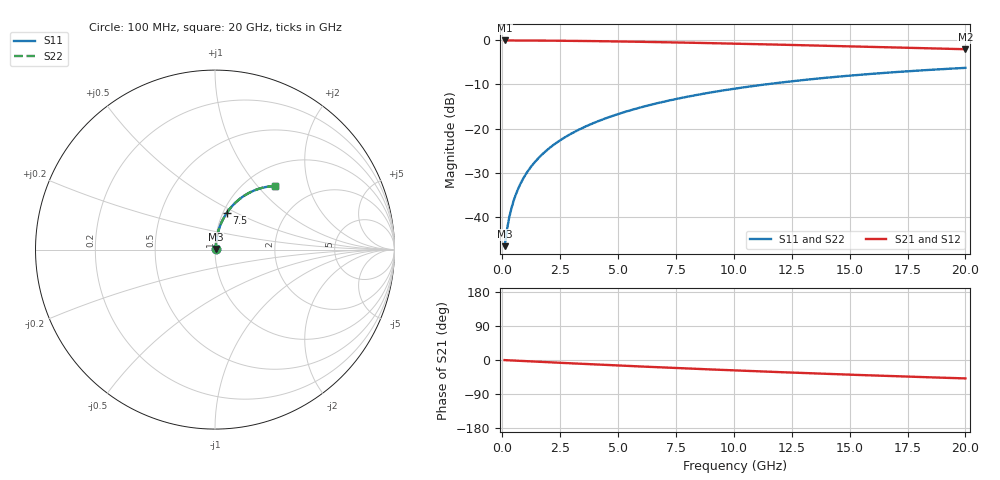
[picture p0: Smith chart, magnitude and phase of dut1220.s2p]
! Touchstone file exported from HFSS 2024.1.0
!  File:  C:/UserFiles/LocalFiles/RDL_TSV_Batchsim/temp_RDL_top_1220_1780240220.aedt
!  Generated:  11:12:35 PM May 31, 2026
!  Design:  RDL_top
!  Project:  temp_RDL_top_1220_1780240220
!  Setup:  Setup1
!  Solution:  Sweep
! Variables:
!  dtsv = 10.80580581um
!  hbump = 3um
!  htsv = 97.35um
!  ldown = 100um
!  lrdl = 649.65um
!  p = 40
!  p1 = 55.36um
!  rhole = 1um
!  t = 450um
!  tdown = 3.915915916um
!  trdl = 4.33um
!  wdown = 15.38538539um
!  wrdl = 15.6um
# GHz S MA R 50.000000
! Terminal data exported
! Port[1] = Box2_T1
! Port[2] = Box2_T2
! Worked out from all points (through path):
!   200 points, 100 MHz to 20 GHz, reference 50 ohm
!   highest |S21| = -0.03 dB at 100 MHz (marker M1); lowest = -2.0 dB at 20 GHz (marker M2)
!   group delay of S21, straight-line fit = 6.73 ps
!   lowest |S11| = -46.6 dB at 100 MHz (marker M3), VSWR 1.01, Z = 50.4 + j0.311 ohm
!   |S11| at or under -10 dB: start of sweep to 11.34 GHz
!   |S22| runs from -46.6 to -6.2 dB; largest |S21 - S12| = 2.5e-15
!   S11 on the Smith chart (normalised r, x): 100 MHz: 1.01, +0.01; 7.5 GHz: 1.04, +0.45; 20 GHz: 1.34, +1.25
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0.1  0.00467 41.5  0.9965 -0.3  0.9965 -0.3  0.00467 41.5
! Gamma 0 0 0 0
! Port Impedance 50 0 50 0
0.2  0.007129 59.4  0.9964 -0.6  0.9964 -0.6  0.007129 59.4
0.3  0.009882 67.4  0.9962 -0.9  0.9962 -0.9  0.009882 67.4
0.4  0.01271 71.8  0.996 -1.2  0.996 -1.2  0.01271 71.8
0.5  0.01556 74.6  0.9959 -1.5  0.9959 -1.5  0.01556 74.6
0.6  0.01843 76.4  0.9957 -1.8  0.9957 -1.8  0.01843 76.4
0.8  0.0242 78.8  0.9953 -2.4  0.9953 -2.4  0.0242 78.8
1.1  0.03292 80.5  0.9946 -3.3  0.9946 -3.3  0.03292 80.5
1.5  0.0446 81.4  0.9935 -4.5  0.9935 -4.5  0.0446 81.4
1.8  0.05337 81.6  0.9924 -5.3  0.9924 -5.3  0.05337 81.6
2.1  0.06215 81.5  0.9911 -6.2  0.9911 -6.2  0.06215 81.5
2.7  0.07968 81.0  0.9881 -8.0  0.9881 -8.0  0.07968 81.0
3.5  0.103 79.9  0.9831 -10.2  0.9831 -10.2  0.103 79.9
4.2  0.1232 78.7  0.9779 -12.2  0.9779 -12.2  0.1232 78.7
5  0.1462 77.2  0.9712 -14.4  0.9712 -14.4  0.1462 77.2
5.9  0.1718 75.4  0.9629 -16.9  0.9629 -16.9  0.1718 75.4
6.8  0.1971 73.5  0.9538 -19.3  0.9538 -19.3  0.1971 73.5
7.5  0.2164 72.1  0.9463 -21.1  0.9463 -21.1  0.2164 72.1
10.1  0.2853 66.5  0.9161 -27.6  0.9161 -27.6  0.2853 66.5
13.4  0.3641 59.4  0.875 -35.2  0.875 -35.2  0.364 59.4
16.7  0.4315 52.8  0.8332 -42.2  0.8332 -42.2  0.4315 52.8
20  0.4877 46.6  0.793 -48.6  0.793 -48.6  0.4877 46.6
